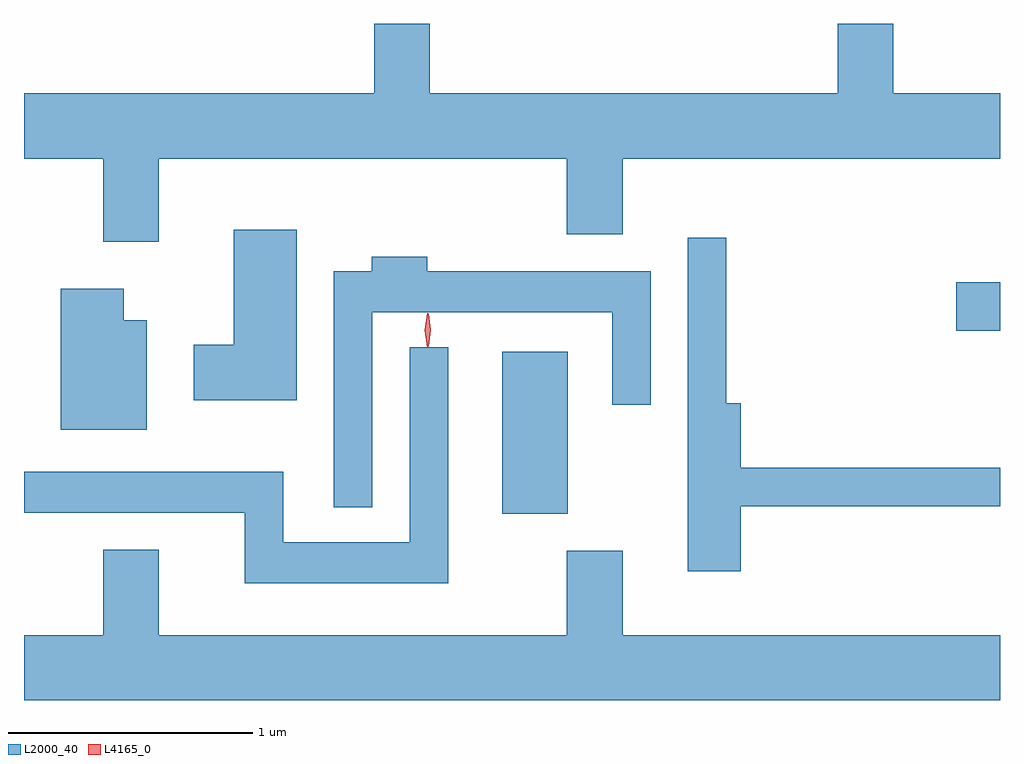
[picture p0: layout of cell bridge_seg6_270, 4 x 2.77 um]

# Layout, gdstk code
import gdstk
lib = gdstk.Library(unit=1e-6, precision=1e-09)
def R(c, l, rs):  # rectangles x0, y0, x1, y1
    for r in rs: c.add(gdstk.rectangle(r[:2], r[2:], *l))
def P(c, l, *ps):  # polygons
    for p in ps: c.add(gdstk.Polygon(p, *l))
L2000_40 = (2000, 40)
L4165_0 = (4165, 0)

bridge_seg6_270 = lib.new_cell('bridge_seg6_270')
R(bridge_seg6_270, L2000_40, [(1305.276,1555.241,1305.544,1555.904), (1307.136,1555.991,1307.316,1556.189)])
P(bridge_seg6_270, L2000_40, [(1303.869,1556.696),(1305.541,1556.696),(1305.541,1556.386),(1305.769,1556.386),(1305.769,1556.696),(1307.316,1556.696),(1307.316,1556.964),(1306.879,1556.964),(1306.879,1557.25),(1306.651,1557.25),(1306.651,1556.964),(1304.979,1556.964),(1304.979,1557.25),(1304.751,1557.25),(1304.751,1556.964),(1303.316,1556.964),(1303.316,1556.696),(1303.641,1556.696),(1303.641,1556.356),(1303.869,1556.356)],
  [(1304.434,1556.404),(1304.176,1556.404),(1304.176,1555.934),(1304.011,1555.934),(1304.011,1555.706),(1304.434,1555.706)],
  [(1306.254,1555.271),(1307.316,1555.271),(1307.316,1555.429),(1306.254,1555.429),(1306.254,1555.694),(1306.194,1555.694),(1306.194,1556.373),(1306.036,1556.373),(1306.036,1555.006),(1306.254,1555.006)],
  [(1304.744,1556.066),(1305.726,1556.066),(1305.726,1555.688),(1305.884,1555.688),(1305.884,1556.234),(1304.969,1556.234),(1304.969,1556.294),(1304.741,1556.294),(1304.741,1556.234),(1304.586,1556.234),(1304.586,1555.268),(1304.744,1555.268)],
  [(1303.819,1556.034),(1303.724,1556.034),(1303.724,1556.164),(1303.466,1556.164),(1303.466,1555.586),(1303.819,1555.586)],
  [(1305.054,1555.923),(1304.896,1555.923),(1304.896,1555.124),(1304.379,1555.124),(1304.379,1555.414),(1303.316,1555.414),(1303.316,1555.246),(1304.221,1555.246),(1304.221,1554.956),(1305.054,1554.956)],
  [(1307.316,1554.744),(1305.769,1554.744),(1305.769,1555.089),(1305.541,1555.089),(1305.541,1554.744),(1303.869,1554.744),(1303.869,1555.094),(1303.641,1555.094),(1303.641,1554.744),(1303.316,1554.744),(1303.316,1554.476),(1307.316,1554.476)])
P(bridge_seg6_270, L4165_0, [(1304.973,1555.927),(1304.964,1555.994),(1304.973,1556.06),(1304.974,1556.061),(1304.974,1556.06),(1304.984,1555.994),(1304.974,1555.927),(1304.974,1555.927)],
  [(1304.969,1555.924),(1304.959,1555.993),(1304.969,1556.062),(1304.969,1556.063),(1304.97,1556.062),(1304.979,1555.993),(1304.97,1555.924),(1304.97,1555.924)])

lib.write_gds('bridge_seg6_270.gds')
